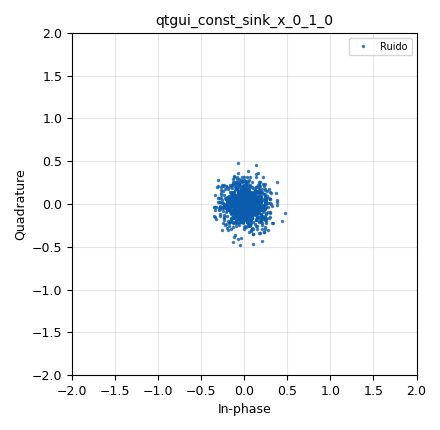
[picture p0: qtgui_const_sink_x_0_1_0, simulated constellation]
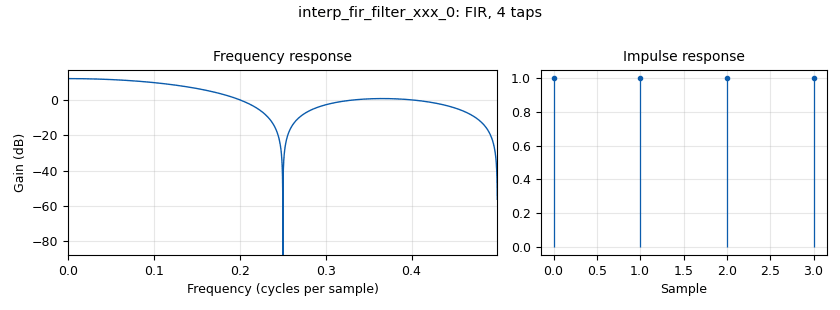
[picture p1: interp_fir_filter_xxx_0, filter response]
options:
  parameters:
    author: homero
    generate_options: qt_gui
    id: sistemabase
    output_language: python
    title: sistemabase
  states: {}

blocks:
- name: B
  id: variable
  parameters:
    value: 200e3
  states: {}
- name: BW
  id: variable
  parameters:
    value: samp_rate/2
  states: {}
- name: Dtiming
  id: variable_qtgui_range
  parameters:
    gui_hint: 0,0,1,1
    label: Dtiming
    rangeType: int
    start: '0'
    step: '1'
    stop: Sps-1
    value: Sps-1
  states: {}
- name: Fc
  id: variable
  parameters:
    value: 40e6
  states: {}
- name: M
  id: variable
  parameters:
    value: len(TablaVerdad)
  states: {}
- name: Nlob_n
  id: variable
  parameters:
    value: '6'
  states: {}
- name: Noise
  id: variable_qtgui_range
  parameters:
    gui_hint: 2,0,1,1
    label: Noise
    start: '0'
    step: '0.1'
    stop: '4'
    value: '0.2'
  states: {}
- name: Rb
  id: variable
  parameters:
    value: Rs*bps
  states: {}
- name: Retardo_sym
  id: variable_qtgui_range
  parameters:
    gui_hint: 1,0,1,1
    label: Delay transmited signal to match with the received signal
    rangeType: int
    start: '0'
    step: '1'
    stop: Sps*10
    value: '0'
  states: {}
- name: Rs
  id: variable
  parameters:
    value: samp_rate/Sps
  states: {}
- name: Sps
  id: variable
  parameters:
    value: '4'
  states: {}
- name: TablaVerdad
  id: variable
  parameters:
    value: (np.exp(1j*p[0]), np.exp(1j*p[1]), np.exp(1j*p[2]), np.exp(1j*p[3]), np.exp(1j*p[4]), np.exp(1j*p[5]), np.exp(1j*p[6]), np.exp(1j*p[7]))
  states: {}
- name: TablaVerdad
  id: variable
  parameters:
    value: (np.exp(1j*5*math.pi/4), np.exp(1j*math.pi), np.exp(1j*math.pi/2), np.exp(1j*math.pi*3/4), np.exp(-1j*math.pi/2), np.exp(-1j*math.pi*1/4), np.exp(1j*math.pi*1/4), np.exp(0j))
  states: {state: disabled}
- name: alpha
  id: variable
  parameters:
    value: '0.3'
  states: {}
- name: bps
  id: variable
  parameters:
    value: math.log(M,2)
  states: {}
- name: h0
  id: variable
  parameters:
    value: ([1]*Sps)
  states: {}
- name: h1
  id: variable
  parameters:
    value: mis_funciones.rcos(Sps,ntaps,alpha)
  states: {}
- name: h2
  id: variable
  parameters:
    value: mis_funciones.rrcos(Sps,ntaps,alpha)
  states: {}
- name: ntaps
  id: variable
  parameters:
    value: Nlob_n*Sps
  states: {}
- name: p
  id: variable
  parameters:
    value: np.array([5*math.pi/4,4*math.pi/4,2*math.pi/4,3*math.pi/4,6*math.pi/4,7*math.pi/4,1*math.pi/4,0*math.pi/4])
  states: {}
- name: samp_rate
  id: variable
  parameters:
    value: B
  states: {}
- name: samp_rate_dac
  id: variable
  parameters:
    value: samp_rate*32
  states: {}
- name: Menu
  id: qtgui_tab_widget
  parameters:
    gui_hint: 4,0,1,1
    label0: T1 R1
    label1: T2 R2
    label2: T3 R3
    label3: Eye Diagramm
    label4: Timing
    label5: RF
    label6: constelaciones
    num_tabs: '7'
  states: {}
- name: analog_noise_source_x_0
  id: analog_noise_source_x
  parameters:
    amp: Noise
    noise_type: analog.GR_GAUSSIAN
    seed: '0'
    type: complex
  states: {}
- name: analog_random_source_x_0
  id: analog_random_source_x
  parameters:
    max: '2'
    min: '0'
    num_samps: '1000000'
    repeat: 'True'
    type: byte
  states: {}
- name: b_Eye_Timing_c_0
  id: b_Eye_Timing_c
  parameters:
    AlphaLineas: '0.5'
    GrosorLineas: '20'
    N_eyes: '2'
    Retardo_Timing: Dtiming
    Samprate: samp_rate
    Sps: Sps
    Title: '"Eye Diagramm"'
    Ymax: '2'
    Ymin: '-2'
    gui_hint: Menu@4:0,0,1,1
  states: {}
- name: b_demod_constelacion_cb_0
  id: b_demod_constelacion_cb
  parameters:
    Constelacion: TablaVerdad
  states: {}
- name: b_diez_cc_0
  id: b_diez_cc
  parameters:
    M: Sps-Dtiming
    N: Sps
  states: {}
- name: b_u_M_PAM_bb_0
  id: b_u_M_PAM_bb
  parameters:
    M: M
  states: {}
- name: b_u_de_M_PAM_bb_0
  id: b_u_de_M_PAM_bb
  parameters:
    M: M
  states: {}
- name: b_upconverter_cf_0
  id: b_upconverter_cf
  parameters:
    Fc: 2*Rs
    samp_rate: samp_rate
  states: {}
- name: blocks_add_xx_0
  id: blocks_add_xx
  parameters:
    type: complex
  states: {}
- name: blocks_char_to_float_0
  id: blocks_char_to_float
  parameters:
    scale: '1'
  states: {}
- name: blocks_char_to_float_0_0
  id: blocks_char_to_float
  parameters:
    scale: '1'
  states: {}
- name: blocks_delay_0
  id: blocks_delay
  parameters:
    delay: Retardo_sym
    type: float
  states: {}
- name: blocks_multiply_const_vxx_0
  id: blocks_multiply_const_vxx
  parameters:
    const: 1/Sps
    type: complex
  states: {}
- name: blocks_null_sink_0
  id: blocks_null_sink
  parameters:
    type: byte
  states: {}
- name: blocks_vector_source_x_0
  id: blocks_vector_source_x
  parameters:
    repeat: 'True'
    type: byte
    vector: (1,0,1,0,1,0,0,0,1,0,1,0,1,1,1,0,0,0)
  states: {state: disabled}
- name: digital_chunks_to_symbols_xx_0
  id: digital_chunks_to_symbols_xx
  parameters:
    dimension: '1'
    in_type: byte
    out_type: complex
    symbol_table: TablaVerdad
  states: {}
- name: import_0
  id: import
  parameters:
    imports: import math
  states: {}
- name: import_0_0
  id: import
  parameters:
    imports: import numpy as np
  states: {}
- name: interp_fir_filter_xxx_0
  id: interp_fir_filter_xxx
  parameters:
    interp: Sps
    taps: h0
    type: ccf
  states: {}
- name: interp_fir_filter_xxx_0_0
  id: interp_fir_filter_xxx
  parameters:
    interp: '1'
    taps: h0
    type: ccf
  states: {}
- name: mis_funciones
  id: epy_module
  parameters:
    source_code: "# this module will be imported in the into your flowgraph\nimport numpy as np\nimport math\n\ndef nyq(Sps,ntaps):\n    k=np.linspace(-ntaps/2, ntaps/2-1, ntaps)\n    h=np.sinc(k/Sps)\n    return h\n    \n#######################################################\n##                  Delta                            ##\n#######################################################                       \ndef delta(ntaps):\n    cerosd=(   [0]*(int(ntaps/2)-1)    )\n    cerosdi=(   [0]*(int(ntaps/2))     )\n    delta_i= np.concatenate(( cerosdi, ([1]) ))\n    delta=np.concatenate(( delta_i, cerosd ))\n    return delta\n   \n#######################################################\n##               Forma Coseno Alzado                 ##\n#######################################################                       \ndef rcos(Sps,ntaps,beta):\n    if beta==0:\n        h=nyq(Sps,ntaps)\n    else:\n        h=ntaps*[0,]\n        for n in range(ntaps):\n            k=n-ntaps/2. # esto es para que h[n] quede centrada en la mitad del vector\n            if abs(k)==Sps/(2.*beta):\n                h[n]=np.sinc(1./(2.*beta))*math.pi/4.\n            else:\n                h[n]=np.sinc(k/Sps)*math.cos(beta*k*math.pi/Sps)/(1.-(2.*beta*k/Sps)**2)                \n    Amp=np.amax(h)\n    return h/Amp\n    \n#######################################################\n##            Forma Raiz de Coseno Alzado            ##\n#######################################################                       \n\ndef rrcos(Sps,ntaps,beta):\n    if beta==0:\n        h=nyq(Sps,ntaps)\n    else:\n        h=ntaps*[0,]\n        beta4=4.*beta\n        for n in range(ntaps):\n            k=n-ntaps/2. # esto es para que h[n] quede centrada en la mitad del vector\n            if k==0:\n                h[n]=1+beta*(4./math.pi-1.)\n            elif abs(k)==Sps/beta4:\n                ha=(1.+2./math.pi)*math.sin(math.pi/beta4)\n                hb=(1.-2./math.pi)*math.cos(math.pi/beta4)\n                h[n]=(ha+hb)*beta/math.sqrt(2.)\n            else:\n                ks=k/Sps\n                kspi=math.pi*ks\n                Num=math.sin(kspi*(1-beta))+beta4*ks*math.cos(kspi*(1+beta))\n                Den=kspi*(1.-(beta4*ks)**2)\n                h[n]=Num/Den                \n    Amp=np.amax(h)\n    return h/Amp\n\n"
  states: {}
- name: note_0
  id: note
  parameters:
    note: CAPA PRE-CANAL
  states: {}
- name: note_0_0
  id: note
  parameters:
    note: CAPA CANAL
  states: {}
- name: qtgui_const_sink_x_0
  id: qtgui_const_sink_x
  parameters:
    gui_hint: Menu@6:1,0,1,1
    label1: R2.0
    marker1: '-1'
    size: '1024'
    style1: '1'
    type: complex
  states: {}
- name: qtgui_const_sink_x_0_0
  id: qtgui_const_sink_x
  parameters:
    gui_hint: Menu@6:0,1,1,1
    label1: R2
    marker1: '-1'
    size: '1024'
    style1: '1'
    type: complex
  states: {}
- name: qtgui_const_sink_x_0_0_0
  id: qtgui_const_sink_x
  parameters:
    gui_hint: Menu@6:0,0,1,1
    label1: T1
    size: '1024'
    type: complex
  states: {}
- name: qtgui_const_sink_x_0_1
  id: qtgui_const_sink_x
  parameters:
    gui_hint: Menu@6:1,1,1,1
    label1: R2.0
    size: '1024'
    type: complex
  states: {}
- name: qtgui_const_sink_x_0_1_0
  id: qtgui_const_sink_x
  parameters:
    gui_hint: Menu@6:2,1,1,1
    label1: Ruido
    size: '1024'
    type: complex
  states: {}
- name: qtgui_eye_sink_x_0
  id: qtgui_eye_sink_x
  parameters:
    gui_hint: Menu@3:0,0,1,1
    label1: R2
    label2: R2.0
    nconnections: '2'
    samp_per_symbol: Sps
    size: '1024'
    srate: samp_rate
    type: complex
    width1: '4'
    width2: '4'
    ymax: '6'
    ymin: '-6'
  states: {}
- name: qtgui_freq_sink_x_0
  id: qtgui_freq_sink_x
  parameters:
    average: '0.05'
    bw: samp_rate
    fc: Fc
    fftsize: '1024'
    gui_hint: Menu@1:1,0,1,1
    label1: T2
    label2: R2
    name: '"Espectro en dB"'
    nconnections: '2'
    type: complex
    width1: '3'
    width2: '3'
  states: {}
- name: qtgui_time_sink_x_0
  id: qtgui_time_sink_x
  parameters:
    gui_hint: Menu@0:0,0,1,1
    label1: T0
    label2: R0
    marker1: '0'
    marker2: '0'
    name: '"M-PAM"'
    nconnections: '2'
    size: '6'
    srate: Rs
    stemplot: 'True'
    type: float
    ymax: '8'
  states: {}
- name: qtgui_time_sink_x_0_0
  id: qtgui_time_sink_x
  parameters:
    gui_hint: Menu@1:0,0,1,1
    label1: I signal Tx
    label2: Q Signal Tx
    label3: I signal Rx
    label4: Q signal Rx
    nconnections: '2'
    size: ntaps
    srate: samp_rate
    type: complex
    width1: '2'
    width2: '2'
    ymax: '2'
    ymin: '-2'
  states: {}
- name: qtgui_time_sink_x_1
  id: qtgui_time_sink_x
  parameters:
    gui_hint: Menu@5:0,0,1,1
    name: '"Senal RF"'
    size: int(Sps*18/bps)
    srate: samp_rate
    type: float
  states: {}
- name: virtual_sink_0
  id: virtual_sink
  parameters:
    stream_id: T1
  states: {}
- name: virtual_sink_0_0
  id: virtual_sink
  parameters:
    stream_id: T2
  states: {}
- name: virtual_sink_0_0_0
  id: virtual_sink
  parameters:
    stream_id: Ruido
  states: {}
- name: virtual_sink_0_0_1
  id: virtual_sink
  parameters:
    stream_id: R2
  states: {}
- name: virtual_sink_0_0_1_0
  id: virtual_sink
  parameters:
    stream_id: R2.0
  states: {}
- name: virtual_sink_0_1
  id: virtual_sink
  parameters:
    stream_id: R1
  states: {}
- name: virtual_sink_0_1_0
  id: virtual_sink
  parameters:
    stream_id: R0
  states: {}
- name: virtual_sink_0_1_0_0
  id: virtual_sink
  parameters:
    stream_id: R-1
  states: {}
- name: virtual_sink_0_2
  id: virtual_sink
  parameters:
    stream_id: T0
  states: {}
- name: virtual_sink_0_2_0
  id: virtual_sink
  parameters:
    stream_id: T-1
  states: {}
- name: virtual_source_0_0
  id: virtual_source
  parameters:
    stream_id: T2
  states: {}
- name: virtual_source_0_0_0
  id: virtual_source
  parameters:
    stream_id: T1
  states: {}
- name: virtual_source_0_0_0_0
  id: virtual_source
  parameters:
    stream_id: R1
  states: {}
- name: virtual_source_0_0_0_0_0
  id: virtual_source
  parameters:
    stream_id: Ruido
  states: {}
- name: virtual_source_0_0_0_0_0_0
  id: virtual_source
  parameters:
    stream_id: R0
  states: {}
- name: virtual_source_0_0_0_0_1
  id: virtual_source
  parameters:
    stream_id: T0
  states: {}
- name: virtual_source_0_0_1
  id: virtual_source
  parameters:
    stream_id: R2
  states: {}
- name: virtual_source_0_0_1_0
  id: virtual_source
  parameters:
    stream_id: R2.0
  states: {}

connections:
- [analog_noise_source_x_0, '0', blocks_add_xx_0, '0']
- [analog_noise_source_x_0, '0', virtual_sink_0_0_0, '0']
- [analog_random_source_x_0, '0', b_u_M_PAM_bb_0, '0']
- [analog_random_source_x_0, '0', virtual_sink_0_2_0, '0']
- [b_demod_constelacion_cb_0, '0', b_u_de_M_PAM_bb_0, '0']
- [b_demod_constelacion_cb_0, '0', virtual_sink_0_1_0, '0']
- [b_diez_cc_0, '0', b_demod_constelacion_cb_0, '0']
- [b_diez_cc_0, '0', virtual_sink_0_1, '0']
- [b_u_M_PAM_bb_0, '0', digital_chunks_to_symbols_xx_0, '0']
- [b_u_M_PAM_bb_0, '0', virtual_sink_0_2, '0']
- [b_u_de_M_PAM_bb_0, '0', blocks_null_sink_0, '0']
- [b_u_de_M_PAM_bb_0, '0', virtual_sink_0_1_0_0, '0']
- [b_upconverter_cf_0, '0', qtgui_time_sink_x_1, '0']
- [blocks_add_xx_0, '0', interp_fir_filter_xxx_0_0, '0']
- [blocks_add_xx_0, '0', virtual_sink_0_0_1, '0']
- [blocks_char_to_float_0, '0', blocks_delay_0, '0']
- [blocks_char_to_float_0_0, '0', qtgui_time_sink_x_0, '1']
- [blocks_delay_0, '0', qtgui_time_sink_x_0, '0']
- [blocks_multiply_const_vxx_0, '0', b_diez_cc_0, '0']
- [blocks_multiply_const_vxx_0, '0', virtual_sink_0_0_1_0, '0']
- [blocks_vector_source_x_0, '0', b_u_M_PAM_bb_0, '0']
- [blocks_vector_source_x_0, '0', virtual_sink_0_2_0, '0']
- [digital_chunks_to_symbols_xx_0, '0', interp_fir_filter_xxx_0, '0']
- [digital_chunks_to_symbols_xx_0, '0', virtual_sink_0, '0']
- [interp_fir_filter_xxx_0, '0', blocks_add_xx_0, '1']
- [interp_fir_filter_xxx_0, '0', virtual_sink_0_0, '0']
- [interp_fir_filter_xxx_0_0, '0', blocks_multiply_const_vxx_0, '0']
- [virtual_source_0_0, '0', b_upconverter_cf_0, '0']
- [virtual_source_0_0, '0', qtgui_freq_sink_x_0, '0']
- [virtual_source_0_0, '0', qtgui_time_sink_x_0_0, '0']
- [virtual_source_0_0_0, '0', qtgui_const_sink_x_0_0_0, '0']
- [virtual_source_0_0_0_0, '0', qtgui_const_sink_x_0_1, '0']
- [virtual_source_0_0_0_0_0, '0', qtgui_const_sink_x_0_1_0, '0']
- [virtual_source_0_0_0_0_0_0, '0', blocks_char_to_float_0_0, '0']
- [virtual_source_0_0_0_0_1, '0', blocks_char_to_float_0, '0']
- [virtual_source_0_0_1, '0', qtgui_const_sink_x_0_0, '0']
- [virtual_source_0_0_1, '0', qtgui_eye_sink_x_0, '0']
- [virtual_source_0_0_1, '0', qtgui_freq_sink_x_0, '1']
- [virtual_source_0_0_1, '0', qtgui_time_sink_x_0_0, '1']
- [virtual_source_0_0_1_0, '0', b_Eye_Timing_c_0, '0']
- [virtual_source_0_0_1_0, '0', qtgui_const_sink_x_0, '0']
- [virtual_source_0_0_1_0, '0', qtgui_eye_sink_x_0, '1']

metadata:
  file_format: 1
